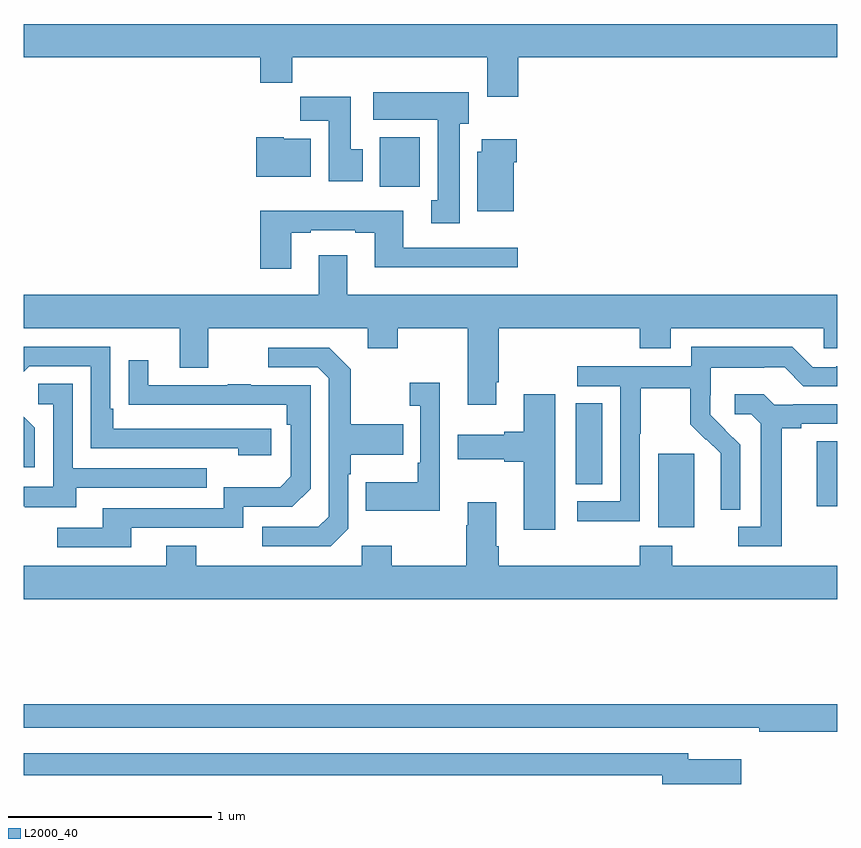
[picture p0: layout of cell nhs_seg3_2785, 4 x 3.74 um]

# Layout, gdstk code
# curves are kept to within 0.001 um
import gdstk
lib = gdstk.Library(unit=1e-6, precision=1e-09)
def R(c, l, rs):  # rectangles x0, y0, x1, y1
    for r in rs: c.add(gdstk.rectangle(r[:2], r[2:], *l))
def P(c, l, *ps):  # polygons
    for p in ps: c.add(gdstk.Polygon(p, *l))
L2000_40 = (2000, 40)

nhs_seg3_2785 = lib.new_cell('nhs_seg3_2785')
R(nhs_seg3_2785, L2000_40, [(258.119,715.922,258.298,716.283), (258.899,716.025,259,716.345), (257.714,716.134,257.845,716.531), (256.751,717.596,256.948,717.838)])
P(nhs_seg3_2785, L2000_40, [(257.432,718.232),(259,718.232),(259,718.396),(255,718.396),(255,718.232),(256.163,718.232),(256.163,718.108),(256.319,718.108),(256.319,718.232),(257.279,718.232),(257.279,718.038),(257.432,718.038)],
  [(257.143,717.906),(257.188,717.906),(257.188,718.06),(256.719,718.06),(256.719,717.926),(257.036,717.926),(257.036,717.53),(257.003,717.53),(257.003,717.417),(257.143,717.417)],
  [(256.666,717.78),(256.609,717.78),(256.609,718.039),(256.36,718.039),(256.36,717.92),(256.499,717.92),(256.499,717.624),(256.666,717.624)],
  [(256.411,717.832),(256.278,717.832),(256.278,717.838),(256.142,717.838),(256.142,717.644),(256.411,717.644)],
  [(257.41,717.716),(257.423,717.716),(257.423,717.829),(257.252,717.829),(257.252,717.768),(257.231,717.768),(257.231,717.476),(257.41,717.476)],
  [(256.315,717.369),(256.411,717.369),(256.411,717.381),(256.631,717.381),(256.631,717.369),(256.727,717.369),(256.727,717.2),(257.428,717.2),(257.428,717.297),(256.867,717.297),(256.867,717.478),(256.163,717.478),(256.163,717.192),(256.315,717.192)],
  [(257.323,716.635),(257.336,716.635),(257.336,716.9),(258.029,716.9),(258.029,716.801),(258.181,716.801),(258.181,716.9),(258.933,716.9),(258.933,716.802),(259,716.802),(259,717.064),(256.591,717.064),(256.591,717.259),(256.451,717.259),(256.451,717.064),(255,717.064),(255,716.9),(255.767,716.9),(255.767,716.706),(255.907,716.706),(255.907,716.9),(256.691,716.9),(256.691,716.801),(256.839,716.801),(256.839,716.9),(257.183,716.9),(257.183,716.523),(257.323,716.523)],
  [(258.03,716.38),(258.033,716.38),(258.033,716.604),(258.277,716.604),(258.277,716.429),(258.354,716.352),(258.357,716.355),(258.428,716.285),(258.428,716.162),(258.426,716.162),(258.426,716.008),(258.522,716.008),(258.522,716.326),(258.376,716.474),(258.376,716.571),(258.378,716.571),(258.378,716.705),(258.641,716.705),(258.641,716.709),(258.741,716.709),(258.834,716.616),(259,716.616),(259,716.712),(258.995,716.712),(258.995,716.709),(258.879,716.709),(258.779,716.809),(258.282,716.809),(258.282,716.712),(257.721,716.712),(257.721,716.616),(257.934,716.616),(257.934,716.049),(257.721,716.049),(257.721,715.951),(258.03,715.951)],
  [(256.216,716.406),(255.439,716.406),(255.439,716.503),(255.426,716.503),(255.426,716.808),(255,716.808),(255,716.685),(255.027,716.712),(255.33,716.712),(255.33,716.31),(256.055,716.31),(256.055,716.276),(256.216,716.276)],
  [(256.596,715.914),(256.596,716.183),(256.609,716.183),(256.609,716.279),(256.865,716.279),(256.865,716.427),(256.609,716.427),(256.609,716.699),(256.503,716.805),(256.203,716.805),(256.203,716.709),(256.446,716.709),(256.5,716.655),(256.5,715.974),(256.449,715.923),(256.173,715.923),(256.173,715.827),(256.509,715.827)],
  [(255.529,715.92),(256.08,715.92),(256.08,716.022),(256.32,716.022),(256.41,716.112),(256.41,716.619),(256.115,716.619),(256.115,716.624),(256.003,716.624),(256.003,716.619),(255.613,716.619),(255.613,716.743),(255.517,716.743),(255.517,716.524),(256.294,716.523),(256.294,716.426),(256.314,716.426),(256.314,716.172),(256.261,716.119),(255.984,716.119),(255.984,716.016),(255.389,716.016),(255.389,715.92),(255.165,715.92),(255.165,715.824),(255.529,715.824)],
  [(257.046,716.632),(256.899,716.632),(256.899,716.519),(256.95,716.519),(256.95,716.239),(256.938,716.239),(256.938,716.143),(256.681,716.143),(256.681,716.003),(257.046,716.003)],
  [(255.259,716.115),(255.899,716.115),(255.899,716.211),(255.24,716.211),(255.24,716.627),(255.072,716.627),(255.072,716.526),(255.144,716.526),(255.144,716.121),(255,716.121),(255,716.025),(255.005,716.025),(255.005,716.021),(255.259,716.021)],
  [(258.727,716.408),(258.823,716.408),(258.823,716.43),(259,716.43),(259,716.526),(258.784,716.526),(258.784,716.523),(258.69,716.523),(258.638,716.575),(258.495,716.575),(258.495,716.478),(258.576,716.478),(258.623,716.431),(258.623,715.923),(258.513,715.923),(258.513,715.827),(258.727,715.827)],
  [(257.614,716.575),(257.459,716.575),(257.459,716.39),(257.363,716.39),(257.363,716.377),(257.133,716.377),(257.133,716.255),(257.363,716.255),(257.363,716.243),(257.459,716.243),(257.459,715.908),(257.614,715.908)],
  [(255.054,716.41),(255,716.464),(255,716.217),(255.054,716.217)],
  [(259,715.732),(258.189,715.732),(258.189,715.831),(258.029,715.831),(258.029,715.732),(257.336,715.732),(257.336,715.828),(257.323,715.828),(257.323,716.044),(257.183,716.044),(257.183,715.931),(257.176,715.931),(257.176,715.732),(256.809,715.732),(256.809,715.831),(256.662,715.831),(256.662,715.732),(255.849,715.732),(255.849,715.831),(255.701,715.831),(255.701,715.732),(255,715.732),(255,715.568),(259,715.568)],
  [(259,715.052),(255,715.052),(255,714.936),(258.364,714.936),(258.364,714.935),(258.616,714.935),(258.616,714.916),(259,714.916)],
  [(258.529,714.781),(258.268,714.781),(258.268,714.81),(255,714.81),(255,714.702),(258.14,714.702),(258.14,714.659),(258.529,714.659)])

lib.write_gds('nhs_seg3_2785.gds')
